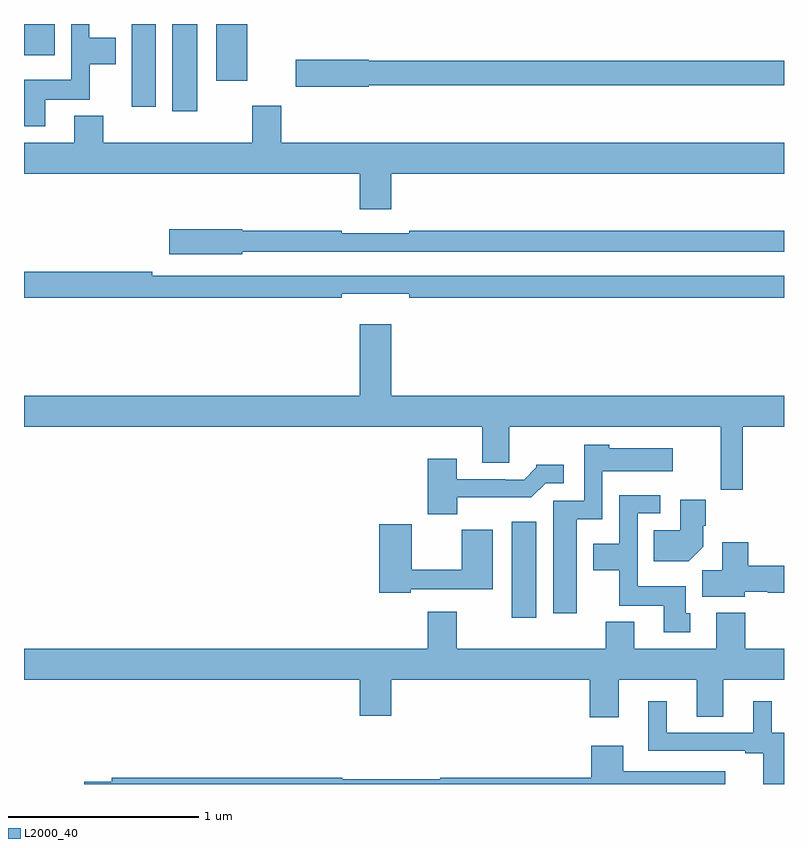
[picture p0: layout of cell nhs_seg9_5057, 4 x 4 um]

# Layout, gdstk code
import gdstk
lib = gdstk.Library(unit=1e-6, precision=1e-09)
def R(c, l, rs):  # rectangles x0, y0, x1, y1
    for r in rs: c.add(gdstk.rectangle(r[:2], r[2:], *l))
def P(c, l, *ps):  # polygons
    for p in ps: c.add(gdstk.Polygon(p, *l))
L2000_40 = (2000, 40)

nhs_seg9_5057 = lib.new_cell('nhs_seg9_5057')
R(nhs_seg9_5057, L2000_40, [(405.566,1235.376,405.697,1235.881), (403.781,1238.04,403.912,1238.5), (403.568,1238.064,403.693,1238.5), (403,1238.336,403.163,1238.5)])
P(nhs_seg9_5057, L2000_40, [(404.176,1238.355),(404.174,1238.355),(404.174,1238.5),(404.012,1238.5),(404.012,1238.202),(404.176,1238.202)],
  [(403.111,1238.102),(403.347,1238.102),(403.347,1238.288),(403.483,1238.288),(403.483,1238.428),(403.344,1238.428),(403.344,1238.5),(403.248,1238.5),(403.248,1238.206),(403,1238.206),(403,1237.962),(403.111,1237.962)],
  [(404.814,1238.178),(407,1238.178),(407,1238.306),(404.814,1238.306),(404.814,1238.312),(404.43,1238.312),(404.43,1238.17),(404.814,1238.17)],
  [(404.932,1237.712),(407,1237.712),(407,1237.876),(404.354,1237.876),(404.354,1238.071),(404.201,1238.071),(404.201,1237.876),(403.418,1237.876),(403.418,1238.017),(403.265,1238.017),(403.265,1237.876),(403,1237.876),(403,1237.712),(404.768,1237.712),(404.768,1237.524),(404.932,1237.524)],
  [(404.148,1237.302),(407,1237.302),(407,1237.411),(405.028,1237.411),(405.028,1237.398),(404.672,1237.398),(404.672,1237.411),(404.148,1237.411),(404.148,1237.419),(403.764,1237.419),(403.764,1237.289),(404.148,1237.289)],
  [(404.672,1237.079),(405.028,1237.079),(405.028,1237.06),(407,1237.06),(407,1237.176),(403.676,1237.176),(403.676,1237.196),(403,1237.196),(403,1237.06),(404.672,1237.06)],
  [(406.784,1236.38),(407,1236.38),(407,1236.544),(404.932,1236.544),(404.932,1236.919),(404.768,1236.919),(404.768,1236.544),(403,1236.544),(403,1236.38),(405.413,1236.38),(405.413,1236.19),(405.553,1236.19),(405.553,1236.38),(406.666,1236.38),(406.666,1236.048),(406.784,1236.048)],
  [(405.91,1235.894),(406.044,1235.894),(406.044,1236.146),(406.414,1236.146),(406.414,1236.268),(406.08,1236.268),(406.08,1236.286),(405.948,1236.286),(405.948,1235.991),(405.785,1235.991),(405.785,1235.4),(405.91,1235.4)],
  [(405.28,1236.008),(405.671,1236.008),(405.747,1236.084),(405.841,1236.084),(405.841,1236.181),(405.696,1236.181),(405.696,1236.166),(405.632,1236.102),(405.533,1236.102),(405.533,1236.105),(405.277,1236.105),(405.277,1236.211),(405.125,1236.211),(405.125,1235.921),(405.28,1235.921)],
  [(406.507,1235.4),(406.483,1235.4),(406.483,1235.542),(406.23,1235.542),(406.23,1235.925),(406.348,1235.925),(406.348,1236.021),(406.134,1236.021),(406.134,1235.764),(405.995,1235.764),(405.995,1235.624),(406.132,1235.624),(406.132,1235.438),(406.367,1235.438),(406.367,1235.298),(406.507,1235.298)],
  [(406.576,1235.75),(406.576,1235.86),(406.589,1235.86),(406.589,1235.995),(406.454,1235.995),(406.454,1235.836),(406.315,1235.836),(406.315,1235.672),(406.498,1235.672)],
  [(405.036,1235.526),(405.466,1235.526),(405.466,1235.839),(405.304,1235.839),(405.304,1235.627),(405.04,1235.627),(405.04,1235.866),(404.87,1235.866),(404.87,1235.506),(405.036,1235.506)],
  [(406.794,1235.513),(406.914,1235.513),(406.914,1235.506),(407,1235.506),(407,1235.648),(406.811,1235.648),(406.811,1235.773),(406.676,1235.773),(406.676,1235.624),(406.571,1235.624),(406.571,1235.486),(406.794,1235.486)],
  [(406.129,1235.048),(406.541,1235.048),(406.541,1234.855),(406.681,1234.855),(406.681,1235.048),(407,1235.048),(407,1235.212),(406.796,1235.212),(406.796,1235.401),(406.643,1235.401),(406.643,1235.212),(406.213,1235.212),(406.213,1235.353),(406.061,1235.353),(406.061,1235.212),(405.277,1235.212),(405.277,1235.407),(405.125,1235.407),(405.125,1235.212),(403,1235.212),(403,1235.048),(404.768,1235.048),(404.768,1234.86),(404.932,1234.86),(404.932,1235.048),(405.977,1235.048),(405.977,1234.851),(406.129,1234.851)],
  [(407,1234.77),(406.936,1234.77),(406.936,1234.936),(406.838,1234.936),(406.838,1234.77),(406.384,1234.77),(406.384,1234.936),(406.286,1234.936),(406.286,1234.674),(406.796,1234.674),(406.796,1234.662),(406.892,1234.662),(406.892,1234.5),(407,1234.5)],
  [(406.69,1234.567),(406.153,1234.567),(406.153,1234.702),(405.986,1234.702),(405.986,1234.532),(405.19,1234.532),(405.19,1234.525),(404.676,1234.525),(404.676,1234.532),(403.462,1234.532),(403.462,1234.512),(403.316,1234.512),(403.316,1234.5),(406.69,1234.5)])

lib.write_gds('nhs_seg9_5057.gds')
